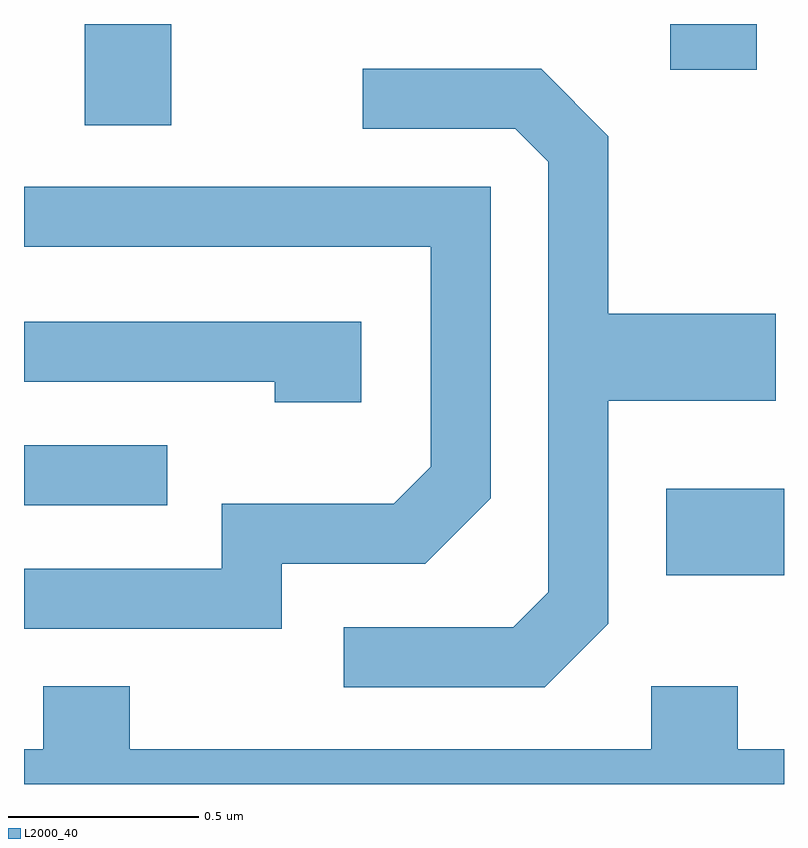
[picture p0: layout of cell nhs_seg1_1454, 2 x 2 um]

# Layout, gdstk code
import gdstk
lib = gdstk.Library(unit=1e-6, precision=1e-09)
def R(c, l, rs):  # rectangles x0, y0, x1, y1
    for r in rs: c.add(gdstk.rectangle(r[:2], r[2:], *l))
def P(c, l, *ps):  # polygons
    for p in ps: c.add(gdstk.Polygon(p, *l))
L2000_40 = (2000, 40)

nhs_seg1_1454 = lib.new_cell('nhs_seg1_1454')
R(nhs_seg1_1454, L2000_40, [(197.301,940.261,197.611,940.489), (195.611,940.446,195.988,940.604), (195.771,941.446,195.999,941.712), (197.311,941.591,197.539,941.712)])
P(nhs_seg1_1454, L2000_40, [(197.149,940.134),(197.149,940.721),(197.589,940.721),(197.589,940.949),(197.149,940.949),(197.149,941.417),(196.972,941.594),(196.503,941.594),(196.503,941.436),(196.904,941.436),(196.991,941.349),(196.991,940.217),(196.899,940.124),(196.453,940.124),(196.453,939.966),(196.982,939.966)],
  [(196.289,940.291),(196.667,940.291),(196.839,940.464),(196.839,941.284),(195.611,941.284),(195.611,941.126),(196.681,941.126),(196.681,940.547),(196.584,940.449),(196.131,940.449),(196.131,940.279),(195.611,940.279),(195.611,940.121),(196.289,940.121)],
  [(196.499,940.929),(195.611,940.929),(195.611,940.771),(196.271,940.771),(196.271,940.716),(196.499,940.716)],
  [(197.611,939.804),(197.489,939.804),(197.489,939.969),(197.261,939.969),(197.261,939.804),(195.889,939.804),(195.889,939.969),(195.661,939.969),(195.661,939.804),(195.611,939.804),(195.611,939.712),(197.611,939.712)])

lib.write_gds('nhs_seg1_1454.gds')
